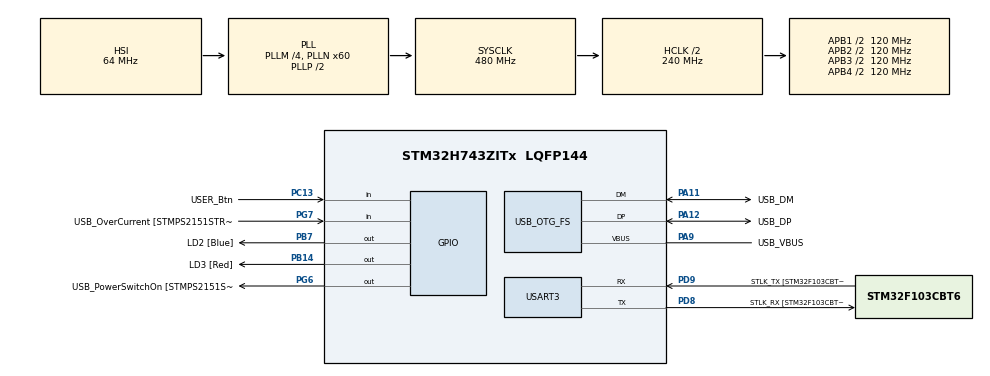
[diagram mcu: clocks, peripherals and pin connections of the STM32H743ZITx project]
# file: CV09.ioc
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Mcu.Family=STM32H7
Mcu.Name=STM32H743ZITx
Mcu.Package=LQFP144
NVIC.OTG_FS_EP1_IN_IRQn=true\:0\:0\:false\:false\:true\:true\:true
NVIC.OTG_FS_EP1_OUT_IRQn=true\:0\:0\:false\:false\:true\:true\:true
NVIC.OTG_FS_IRQn=true\:0\:0\:false\:false\:true\:true\:true
NVIC.PriorityGroup=NVIC_PRIORITYGROUP_4
PA11.GPIO_Label=USB_DM
PA11.Mode=Device_Only
PA11.Signal=USB_OTG_FS_DM
PA12.GPIO_Label=USB_DP
PA12.Mode=Device_Only
PA12.Signal=USB_OTG_FS_DP
PA13\ (JTMS/SWDIO).Mode=Serial_Wire
PA13\ (JTMS/SWDIO).Signal=DEBUG_JTMS-SWDIO
PA14\ (JTCK/SWCLK).Mode=Serial_Wire
PA14\ (JTCK/SWCLK).Signal=DEBUG_JTCK-SWCLK
PA9.GPIO_Label=USB_VBUS
PA9.Mode=Activate_VBUS
PA9.Signal=USB_OTG_FS_VBUS
PB14.GPIO_Label=LD3 [Red]
PB14.Signal=GPIO_Output
PB7.GPIO_Label=LD2 [Blue]
PB7.PinState=GPIO_PIN_SET
PB7.Signal=GPIO_Output
PC13.GPIO_Label=USER_Btn
PC13.GPIO_PuPd=GPIO_PULLDOWN
PC13.Signal=GPIO_Input
PD8.GPIO_Label=STLK_RX [STM32F103CBT6_PA3]
PD8.Mode=Asynchronous
PD8.Signal=USART3_TX
PD9.GPIO_Label=STLK_TX [STM32F103CBT6_PA2]
PD9.Mode=Asynchronous
PD9.Signal=USART3_RX
PG6.GPIO_Label=USB_PowerSwitchOn [STMPS2151STR_EN]
PG6.Signal=GPIO_Output
PG7.GPIO_Label=USB_OverCurrent [STMPS2151STR_FAULT]
PG7.Signal=GPIO_Input
ProjectManager.HeapSize=0x200
ProjectManager.StackSize=0x400
ProjectManager.TargetToolchain=STM32CubeIDE
RCC.48MHZClocksFreq_Value=24000000
RCC.ADCFreq_Value=129000000
RCC.AHBFreq_Value=216000000
RCC.APB1CLKDivider=RCC_HCLK_DIV4
RCC.APB1Freq_Value=120000000
RCC.APB1TimFreq_Value=108000000
RCC.APB2CLKDivider=RCC_HCLK_DIV2
RCC.APB2Freq_Value=120000000
RCC.APB2TimFreq_Value=216000000
RCC.APB3Freq_Value=120000000
RCC.APB4Freq_Value=120000000
RCC.CortexFreq_Value=480000000
RCC.D1PPRE=RCC_APB3_DIV2
RCC.D2PPRE1=RCC_APB1_DIV2
RCC.D2PPRE2=RCC_APB2_DIV2
RCC.D3PPRE=RCC_APB4_DIV2
RCC.DIVM1=4
RCC.DIVN1=60
RCC.DIVQ1=4
RCC.HCLKFreq_Value=240000000
RCC.HPRE=RCC_HCLK_DIV2
RCC.HSE_VALUE=8000000
RCC.HSI_VALUE=64000000
RCC.PLLM=25
RCC.PLLMUL=RCC_PLL_MUL9
RCC.PLLN=432
RCC.PLLQ=9
RCC.PRESCALERUSB=RCC_USBCLKSOURCE_PLL_DIV1_5
RCC.PWR_Regulator_Voltage_Scale=PWR_REGULATOR_VOLTAGE_SCALE0
RCC.SYSCLKFreq_VALUE=480000000
RCC.SYSCLKSource=RCC_SYSCLKSOURCE_PLLCLK
RCC.SYSCLKSourceVirtual=RCC_SYSCLKSOURCE_PLLCLK
RCC.USBCLockSelection=RCC_USBCLKSOURCE_HSI48
RCC.USBFreq_Value=48000000
RCC.VCOOutputFreq_Value=432000000
USART3.VirtualMode-Asynchronous=VM_ASYNC
USB_DEVICE.CLASS_NAME_FS=HID
USB_DEVICE.USBD_SELF_POWERED-HID_FS=0
USB_DEVICE.VirtualMode-HID_FS=Hid
USB_DEVICE.VirtualModeFS=Hid_FS
USB_OTG_FS.VirtualMode=Device_Only
VP_USB_DEVICE_VS_USB_DEVICE_HID_FS.Mode=HID_FS
board=NUCLEO-H743ZI

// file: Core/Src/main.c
/* USER CODE BEGIN Header */
/**
  ******************************************************************************
  * @file           : main.c
  * @brief          : Main program body
  ******************************************************************************
  * @attention
  *
  * <h2><center>&copy; Copyright (c) 2020 STMicroelectronics.
  * All rights reserved.</center></h2>
  *
  * This software component is licensed by ST under BSD 3-Clause license,
  * the "License"; You may not use this file except in compliance with the
  * License. You may obtain a copy of the License at:
  *                        opensource.org/licenses/BSD-3-Clause
  *
  ******************************************************************************
  */
/* USER CODE END Header */
#include "main.h"
#include "usb_device.h"

/* USER CODE BEGIN Includes */
#include "usbd_hid.h"
#include <math.h>
/* USER CODE END Includes */

/* USER CODE BEGIN PD */
#define PI ((float)(3.141592654))
/* USER CODE END PD */

UART_HandleTypeDef huart3;

/* USER CODE BEGIN PV */
extern USBD_HandleTypeDef hUsbDeviceFS;

uint16_t r;
/* USER CODE END PV */

void SystemClock_Config(void);
static void MX_GPIO_Init(void);
static void MX_USART3_UART_Init(void);
/* USER CODE BEGIN PFP */

void circle (float start_angle, float angle,  float r, uint8_t btn, uint32_t step_delay)
{
		uint8_t buff[5];
		buff[0] = 0x02;
	float x = 0, y = 0;
	float x_old = r*cos(start_angle);
	float y_old = r*sin(start_angle);
	buff[1] = btn; // stiskni leve tlacitko
	for(float phi = start_angle; phi<=angle+start_angle; phi+=2.0*PI/100)
	  {
		  x = r*cos(phi);
		  y = r*sin(phi);

		  buff[2] = (int8_t)(round( x_old - x)); // posun X +10
		  buff[3] = (int8_t)(round(y_old - y)); // posun Y -3
		  buff[4] = 0; // bez scrollu
		  if(buff[2]) x_old = x;
		   if(buff[3]) y_old = y;
		  USBD_HID_SendReport(&hUsbDeviceFS, buff, sizeof(buff));
		  HAL_Delay(step_delay+4*USBD_HID_GetPollingInterval(&hUsbDeviceFS));

	  }
	buff[1] = 0;
		USBD_HID_SendReport(&hUsbDeviceFS, buff, sizeof(buff));
	  HAL_Delay(step_delay+4*USBD_HID_GetPollingInterval(&hUsbDeviceFS));
}

void line (int16_t x, int16_t y, uint8_t btn)
{
		uint8_t buff[5];

		for(uint8_t i = 0; i<20; i++)
		  {
			buff[0] = 0x02;
		  buff[1] = btn;
		  buff[2] = (int8_t)(x/20);
		  buff[3] = (int8_t)(-y/20);
		  buff[4] = 0; // bez scrollu

		  USBD_HID_SendReport(&hUsbDeviceFS, buff, sizeof(buff));
		  HAL_Delay(5*USBD_HID_GetPollingInterval(&hUsbDeviceFS));
		  }
}

void key(uint8_t key)
{
	static uint8_t buff[9] = {0x01,0,0,0,0,0,0,0,0};
	buff[3] = key;
	USBD_HID_SendReport(&hUsbDeviceFS, buff, sizeof(buff));
	 HAL_Delay(3*USBD_HID_GetPollingInterval(&hUsbDeviceFS));
	 buff[3] = 0x00;
	 USBD_HID_SendReport(&hUsbDeviceFS, buff, sizeof(buff));
	 HAL_Delay(50+2*USBD_HID_GetPollingInterval(&hUsbDeviceFS));
	/* USER CODE END PFP */
}

int main(void)
{

  /* MCU Configuration--------------------------------------------------------*/

  /* Reset of all peripherals, Initializes the Flash interface and the Systick. */
  HAL_Init();

  /* Configure the system clock */
  SystemClock_Config();

  /* Initialize all configured peripherals */
  MX_GPIO_Init();
  MX_USART3_UART_Init();
  MX_USB_DEVICE_Init();
  /* USER CODE BEGIN 2 */
  while(!HAL_GPIO_ReadPin(USER_Btn_GPIO_Port, USER_Btn_Pin)) HAL_Delay(10);
  uint8_t buff[9];
  buff[0] = 0x01;
  buff[1] = 0x08;
  buff[2] = 0x00;

  buff[3] = 0x15;
  buff[4] = 0x00;
  buff[5] = 0x00;
  buff[6] = 0x00;
  buff[7] = 0x00;
  buff[8] = 0x00;
  USBD_HID_SendReport(&hUsbDeviceFS, buff, sizeof(buff));
   HAL_Delay(3*USBD_HID_GetPollingInterval(&hUsbDeviceFS));
   buff[1] = 0x00;
   buff[3] = 0x00;
   USBD_HID_SendReport(&hUsbDeviceFS, buff, sizeof(buff));
   HAL_Delay(5*USBD_HID_GetPollingInterval(&hUsbDeviceFS));

   key(0x10);//M
   key(0x16);//S
   key(0x13);//P
   key(0x04);//A
   key(0x0c);//I
   key(0x011);//N
   key(0x017);//T
   key(0x28);//ENTER

    HAL_Delay(2000);
  /* USER CODE END 2 */

  /* Infinite loop */
  while (1)
  {

    /* USER CODE BEGIN 3 */

	  line(-1000,1000,0);
	  line(-1000,1000,0);
	  line(-1000,1000,0);
	  line(-1000,1000,0);
	  HAL_Delay(50);
	  line(200,-310,0);
	   circle (0,2*PI,200,1, 1);
	   line(100,75,0);
	   circle (0,2*PI,50,1, 1);
	   line(200,0,0);
	   circle (0,2*PI,50,1, 1);
	   line(-80,-30,0);
	   line(0,-100,1);
	   line(120,-10,0);
	   circle (1.2*PI,0.6*PI,150,1, 1);
	   line(-80,-30,0);
	   while(!HAL_GPIO_ReadPin(USER_Btn_GPIO_Port, USER_Btn_Pin)) HAL_Delay(10);

  }

  /* USER CODE END 3 */
}

void SystemClock_Config(void)
{
  RCC_OscInitTypeDef RCC_OscInitStruct = {0};
  RCC_ClkInitTypeDef RCC_ClkInitStruct = {0};
  RCC_PeriphCLKInitTypeDef PeriphClkInitStruct = {0};

  /** Supply configuration update enable
  */
  HAL_PWREx_ConfigSupply(PWR_LDO_SUPPLY);
  /** Configure the main internal regulator output voltage
  */
  __HAL_PWR_VOLTAGESCALING_CONFIG(PWR_REGULATOR_VOLTAGE_SCALE0);

  while(!__HAL_PWR_GET_FLAG(PWR_FLAG_VOSRDY)) {}
  /** Initializes the RCC Oscillators according to the specified parameters
  * in the RCC_OscInitTypeDef structure.
  */
  RCC_OscInitStruct.OscillatorType = RCC_OSCILLATORTYPE_HSI48|RCC_OSCILLATORTYPE_HSI;
  RCC_OscInitStruct.HSIState = RCC_HSI_DIV1;
  RCC_OscInitStruct.HSICalibrationValue = RCC_HSICALIBRATION_DEFAULT;
  RCC_OscInitStruct.HSI48State = RCC_HSI48_ON;
  RCC_OscInitStruct.PLL.PLLState = RCC_PLL_ON;
  RCC_OscInitStruct.PLL.PLLSource = RCC_PLLSOURCE_HSI;
  RCC_OscInitStruct.PLL.PLLM = 4;
  RCC_OscInitStruct.PLL.PLLN = 60;
  RCC_OscInitStruct.PLL.PLLP = 2;
  RCC_OscInitStruct.PLL.PLLQ = 4;
  RCC_OscInitStruct.PLL.PLLR = 2;
  RCC_OscInitStruct.PLL.PLLRGE = RCC_PLL1VCIRANGE_3;
  RCC_OscInitStruct.PLL.PLLVCOSEL = RCC_PLL1VCOWIDE;
  RCC_OscInitStruct.PLL.PLLFRACN = 0;
  if (HAL_RCC_OscConfig(&RCC_OscInitStruct) != HAL_OK)
  {
    Error_Handler();
  }
  /** Initializes the CPU, AHB and APB buses clocks
  */
  RCC_ClkInitStruct.ClockType = RCC_CLOCKTYPE_HCLK|RCC_CLOCKTYPE_SYSCLK
                              |RCC_CLOCKTYPE_PCLK1|RCC_CLOCKTYPE_PCLK2
                              |RCC_CLOCKTYPE_D3PCLK1|RCC_CLOCKTYPE_D1PCLK1;
  RCC_ClkInitStruct.SYSCLKSource = RCC_SYSCLKSOURCE_PLLCLK;
  RCC_ClkInitStruct.SYSCLKDivider = RCC_SYSCLK_DIV1;
  RCC_ClkInitStruct.AHBCLKDivider = RCC_HCLK_DIV2;
  RCC_ClkInitStruct.APB3CLKDivider = RCC_APB3_DIV2;
  RCC_ClkInitStruct.APB1CLKDivider = RCC_APB1_DIV2;
  RCC_ClkInitStruct.APB2CLKDivider = RCC_APB2_DIV2;
  RCC_ClkInitStruct.APB4CLKDivider = RCC_APB4_DIV2;

  if (HAL_RCC_ClockConfig(&RCC_ClkInitStruct, FLASH_LATENCY_4) != HAL_OK)
  {
    Error_Handler();
  }
  PeriphClkInitStruct.PeriphClockSelection = RCC_PERIPHCLK_USART3|RCC_PERIPHCLK_USB;
  PeriphClkInitStruct.Usart234578ClockSelection = RCC_USART234578CLKSOURCE_D2PCLK1;
  PeriphClkInitStruct.UsbClockSelection = RCC_USBCLKSOURCE_HSI48;
  if (HAL_RCCEx_PeriphCLKConfig(&PeriphClkInitStruct) != HAL_OK)
  {
    Error_Handler();
  }
  /** Enable USB Voltage detector
  */
  HAL_PWREx_EnableUSBVoltageDetector();
}

static void MX_USART3_UART_Init(void)
{

  huart3.Instance = USART3;
  huart3.Init.BaudRate = 115200;
  huart3.Init.WordLength = UART_WORDLENGTH_8B;
  huart3.Init.StopBits = UART_STOPBITS_1;
  huart3.Init.Parity = UART_PARITY_NONE;
  huart3.Init.Mode = UART_MODE_TX_RX;
  huart3.Init.HwFlowCtl = UART_HWCONTROL_NONE;
  huart3.Init.OverSampling = UART_OVERSAMPLING_16;
  huart3.Init.OneBitSampling = UART_ONE_BIT_SAMPLE_DISABLE;
  huart3.Init.ClockPrescaler = UART_PRESCALER_DIV1;
  huart3.AdvancedInit.AdvFeatureInit = UART_ADVFEATURE_NO_INIT;
  if (HAL_UART_Init(&huart3) != HAL_OK)
  {
    Error_Handler();
  }
  if (HAL_UARTEx_SetTxFifoThreshold(&huart3, UART_TXFIFO_THRESHOLD_1_8) != HAL_OK)
  {
    Error_Handler();
  }
  if (HAL_UARTEx_SetRxFifoThreshold(&huart3, UART_RXFIFO_THRESHOLD_1_8) != HAL_OK)
  {
    Error_Handler();
  }
  if (HAL_UARTEx_DisableFifoMode(&huart3) != HAL_OK)
  {
    Error_Handler();
  }

}

static void MX_GPIO_Init(void)
{
  GPIO_InitTypeDef GPIO_InitStruct = {0};

  /* GPIO Ports Clock Enable */
  __HAL_RCC_GPIOC_CLK_ENABLE();
  __HAL_RCC_GPIOB_CLK_ENABLE();
  __HAL_RCC_GPIOD_CLK_ENABLE();
  __HAL_RCC_GPIOG_CLK_ENABLE();
  __HAL_RCC_GPIOA_CLK_ENABLE();

  /*Configure GPIO pin Output Level */
  HAL_GPIO_WritePin(LD3_GPIO_Port, LD3_Pin, GPIO_PIN_RESET);

  /*Configure GPIO pin Output Level */
  HAL_GPIO_WritePin(USB_PowerSwitchOn_GPIO_Port, USB_PowerSwitchOn_Pin, GPIO_PIN_RESET);

  /*Configure GPIO pin Output Level */
  HAL_GPIO_WritePin(LD2_GPIO_Port, LD2_Pin, GPIO_PIN_SET);

  /*Configure GPIO pin : USER_Btn_Pin */
  GPIO_InitStruct.Pin = USER_Btn_Pin;
  GPIO_InitStruct.Mode = GPIO_MODE_INPUT;
  GPIO_InitStruct.Pull = GPIO_PULLDOWN;
  HAL_GPIO_Init(USER_Btn_GPIO_Port, &GPIO_InitStruct);

  /*Configure GPIO pins : LD3_Pin LD2_Pin */
  GPIO_InitStruct.Pin = LD3_Pin|LD2_Pin;
  GPIO_InitStruct.Mode = GPIO_MODE_OUTPUT_PP;
  GPIO_InitStruct.Pull = GPIO_NOPULL;
  GPIO_InitStruct.Speed = GPIO_SPEED_FREQ_LOW;
  HAL_GPIO_Init(GPIOB, &GPIO_InitStruct);

  /*Configure GPIO pin : USB_PowerSwitchOn_Pin */
  GPIO_InitStruct.Pin = USB_PowerSwitchOn_Pin;
  GPIO_InitStruct.Mode = GPIO_MODE_OUTPUT_PP;
  GPIO_InitStruct.Pull = GPIO_NOPULL;
  GPIO_InitStruct.Speed = GPIO_SPEED_FREQ_LOW;
  HAL_GPIO_Init(USB_PowerSwitchOn_GPIO_Port, &GPIO_InitStruct);

  /*Configure GPIO pin : USB_OverCurrent_Pin */
  GPIO_InitStruct.Pin = USB_OverCurrent_Pin;
  GPIO_InitStruct.Mode = GPIO_MODE_INPUT;
  GPIO_InitStruct.Pull = GPIO_NOPULL;
  HAL_GPIO_Init(USB_OverCurrent_GPIO_Port, &GPIO_InitStruct);

}

void Error_Handler(void)
{
}

/************************ (C) COPYRIGHT STMicroelectronics *****END OF FILE****/
